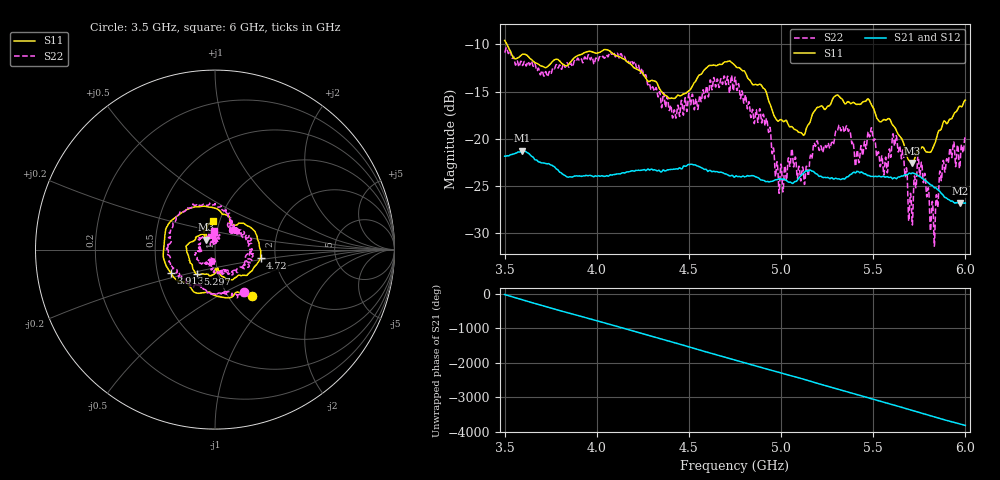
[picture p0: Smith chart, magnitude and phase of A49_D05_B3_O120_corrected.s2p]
! Created with skrf 1.9.0 (http://scikit-rf.org).
# Hz S RI R 50.0
!freq ReS11 ImS11 ReS21 ImS21 ReS12 ImS12 ReS22 ImS22
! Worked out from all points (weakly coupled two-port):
!   1601 points, 3.5 GHz to 6 GHz, reference 50 ohm
!   highest |S21| = -21.29 dB at 3.594 GHz (marker M1); lowest = -26.9 dB at 5.97 GHz (marker M2)
!   lowest |S11| = -22.6 dB at 5.711 GHz (marker M3), VSWR 1.16, Z = 45 + j5.04 ohm
!   |S11| at or under -10 dB: 3.513 GHz to end of sweep
!   |S22| runs from -31.4 to -10.3 dB; largest |S21 - S12| = 0.0011
!   S11 on the Smith chart (normalised r, x): 3.5 GHz: 1.28, -0.74; 3.913 GHz: 0.59, -0.17; 4.72 GHz: 1.67, -0.17; 5.297 GHz: 0.79, -0.22; 6 GHz: 0.93, +0.30
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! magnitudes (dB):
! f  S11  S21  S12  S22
! 3.5 GHz  -9.6  -21.9  -21.8  -10.8
! 3.594 GHz  -11.1  -21.3  -21.3  -12.1
! 3.913 GHz  -11.1  -24.0  -23.9  -11.5
! 3.917 GHz  -11.1  -24.0  -23.9  -11.6
! 4.139 GHz  -11.5  -23.6  -23.6  -11.3
! 4.334 GHz  -14.4  -23.4  -23.3  -15.5
! 4.42 GHz  -15.7  -23.2  -23.2  -16.9
! 4.72 GHz  -11.8  -23.9  -23.9  -15.2
! 4.75 GHz  -12.2  -24.0  -23.9  -13.5
! 4.93 GHz  -15.8  -24.5  -24.5  -19.1
! 4.998 GHz  -18.0  -24.3  -24.2  -22.7
! 5.167 GHz  -17.6  -23.4  -23.4  -22.1
! 5.297 GHz  -15.4  -24.2  -24.1  -19.2
! 5.484 GHz  -16.2  -24.0  -23.9  -19.4
! 5.584 GHz  -17.9  -24.1  -24.0  -21.5
! 5.617 GHz  -18.8  -24.1  -24.1  -20.7
! 5.711 GHz  -22.6  -23.6  -23.5  -29.0
! 5.753 GHz  -21.1  -24.0  -23.9  -23.9
! 5.822 GHz  -21.0  -25.0  -24.9  -26.7
! 5.87 GHz  -18.9  -25.8  -25.7  -24.3
! 5.97 GHz  -16.5  -26.9  -26.8  -23.1
! 6 GHz  -15.9  -26.8  -26.7  -19.9
